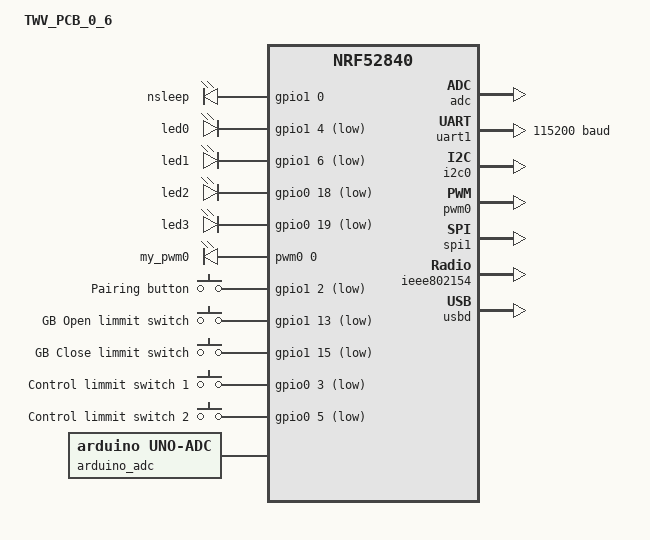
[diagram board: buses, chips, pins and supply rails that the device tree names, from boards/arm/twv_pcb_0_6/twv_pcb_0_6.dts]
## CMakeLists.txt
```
#
# Copyright (c) 2020 Nordic Semiconductor ASA
#
# SPDX-License-Identifier: LicenseRef-Nordic-5-Clause
#

cmake_minimum_required(VERSION 3.20.0)

find_package(Zephyr REQUIRED HINTS $ENV{ZEPHYR_BASE})

project("Light Switch")

# NORDIC SDK APP START
target_sources(app PRIVATE
  src/main.c
)

target_include_directories(app PRIVATE include)
# NORDIC SDK APP END

target_sources(app PRIVATE
  src/buttons.c
)

target_sources(app PRIVATE
  src/leds.c
)

target_sources(app PRIVATE
  src/adc.c
)

target_sources(app PRIVATE
  src/pwm.c
)

target_include_directories(app PRIVATE include)

target_sources_ifdef(CONFIG_BT_NUS app PRIVATE
  src/nus_cmd.c
)
```

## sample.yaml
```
sample:
  description: Smart Valve based on ZBOSS stack
  name: Smart Valve
tests:
  sample.zigbee.light_switch:
    build_only: true
    integration_platforms:
      - nrf52840dk_nrf52840
      - nrf52833dk_nrf52833
      - nrf5340dk_nrf5340_cpuapp
      - nrf21540dk_nrf52840
    platform_allow: nrf52840dk_nrf52840 nrf52833dk_nrf52833 nrf5340dk_nrf5340_cpuapp
      nrf21540dk_nrf52840
    tags: ci_build smoke
  sample.zigbee.light_switch.current_measurement:
    build_only: true
    extra_args: CONFIG_SERIAL=n
    integration_platforms:
      - nrf52840dk_nrf52840
      - nrf52833dk_nrf52833
      - nrf5340dk_nrf5340_cpuapp
    platform_allow: nrf52840dk_nrf52840 nrf52833dk_nrf52833 nrf5340dk_nrf5340_cpuapp
    tags: ci_build current_measurement
  sample.zigbee.light_switch.fota:
    build_only: true
    extra_args: CONF_FILE=prj_fota.conf
    integration_platforms:
      - nrf52840dk_nrf52840
      - nrf21540dk_nrf52840
      - nrf5340dk_nrf5340_cpuapp
    platform_allow: nrf52840dk_nrf52840 nrf21540dk_nrf52840 nrf5340dk_nrf5340_cpuapp
    tags: ci_build smoke
  sample.zigbee.light_switch.fota_and_multiprotocol:
    build_only: true
    extra_args: CONF_FILE=prj_fota.conf OVERLAY_CONFIG=overlay-multiprotocol_ble.conf
    integration_platforms:
      - nrf52840dk_nrf52840
      - nrf5340dk_nrf5340_cpuapp
    platform_allow: nrf52840dk_nrf52840 nrf5340dk_nrf5340_cpuapp
    tags: ci_build
  sample.zigbee.light_switch.multiprotocol:
    build_only: true
    extra_args: OVERLAY_CONFIG=overlay-multiprotocol_ble.conf
    integration_platforms:
      - nrf52840dk_nrf52840
      - nrf52833dk_nrf52833
      - nrf5340dk_nrf5340_cpuapp
    platform_allow: nrf52840dk_nrf52840 nrf52833dk_nrf52833 nrf5340dk_nrf5340_cpuapp
    tags: ci_build
  sample.zigbee.light_switch.with_shell:
    build_only: true
    extra_args: >
      CONFIG_ZIGBEE_SHELL=y CONFIG_ZIGBEE_SHELL_DEBUG_CMD=y CONFIG_ZIGBEE_LOGGER_EP=n
      CONFIG_ZIGBEE_SHELL_ENDPOINT=1 CONFIG_LOG_MODE_DEFERRED=y
    integration_platforms:
      - nrf52840dk_nrf52840
      - nrf52833dk_nrf52833
      - nrf5340dk_nrf5340_cpuapp
      - nrf21540dk_nrf52840
    platform_allow: nrf52840dk_nrf52840 nrf52833dk_nrf52833 nrf5340dk_nrf5340_cpuapp
      nrf21540dk_nrf52840
    tags: ci_build shell
```

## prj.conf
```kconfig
#
# Copyright (c) 2020 Nordic Semiconductor ASA
#
# SPDX-License-Identifier: LicenseRef-Nordic-5-Clause
#

CONFIG_NCS_SAMPLES_DEFAULTS=y

CONFIG_UART_INTERRUPT_DRIVEN=y
CONFIG_SERIAL=y
CONFIG_GPIO=y
CONFIG_ADC=y
CONFIG_PWM=y
CONFIG_LED=y

# Make sure printk is not printing to the UART console
CONFIG_CONSOLE=y
CONFIG_UART_CONSOLE=y

CONFIG_HEAP_MEM_POOL_SIZE=2048

CONFIG_ZIGBEE=y
CONFIG_ZIGBEE_APP_UTILS=y
CONFIG_ZIGBEE_ROLE_END_DEVICE=y
CONFIG_ZIGBEE_TIME_KTIMER=y
CONFIG_ZIGBEE_CHANNEL_SELECTION_MODE_MULTI=y
CONFIG_ZIGBEE_CHANNEL_MASK=0x210F800

# Enable DK LED and Buttons library
CONFIG_DK_LIBRARY=y

# This example requires more workqueue stack
CONFIG_SYSTEM_WORKQUEUE_STACK_SIZE=2048

# Enable API for powering down unused RAM parts
CONFIG_RAM_POWER_DOWN_LIBRARY=y

# Networking
CONFIG_NET_IPV6=n
CONFIG_NET_IP_ADDR_CHECK=n
CONFIG_NET_UDP=n
```

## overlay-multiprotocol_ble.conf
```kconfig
#
# Copyright (c) 2020 Nordic Semiconductor ASA
#
# SPDX-License-Identifier: LicenseRef-Nordic-5-Clause
#

# BLE configuration
CONFIG_BT=y
CONFIG_BT_SMP=y
CONFIG_BT_PERIPHERAL=y
CONFIG_BT_DEVICE_NAME="TWV"
CONFIG_BT_DEVICE_APPEARANCE=833
CONFIG_BT_MAX_CONN=1
CONFIG_BT_MAX_PAIRED=1
CONFIG_BT_PHY_UPDATE=n

# Enable the NUS service
CONFIG_BT_NUS=y

# Enable bonding
CONFIG_SETTINGS=y
CONFIG_BT_SETTINGS=y

# BLE uses ECB peripheral directly
CONFIG_CRYPTO=n
CONFIG_CRYPTO_NRF_ECB=n
```

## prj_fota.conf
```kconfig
#
# Copyright (c) 2020 Nordic Semiconductor ASA
#
# SPDX-License-Identifier: LicenseRef-Nordic-5-Clause
#

CONFIG_NCS_SAMPLES_DEFAULTS=y

CONFIG_UART_INTERRUPT_DRIVEN=y
CONFIG_SERIAL=y
CONFIG_GPIO=y
CONFIG_ADC=y
CONFIG_PWM=y
CONFIG_LED=y

# Make sure printk is not printing to the UART console
CONFIG_CONSOLE=y
CONFIG_UART_CONSOLE=y

CONFIG_HEAP_MEM_POOL_SIZE=2048

CONFIG_ZIGBEE=y
CONFIG_ZIGBEE_APP_UTILS=y
CONFIG_ZIGBEE_ROLE_END_DEVICE=y

# Enable DK LED and Buttons library
CONFIG_DK_LIBRARY=y

# This example requires more workqueue stack
CONFIG_SYSTEM_WORKQUEUE_STACK_SIZE=2048

# Enable API for powering down unused RAM parts
CONFIG_RAM_POWER_DOWN_LIBRARY=y

# Networking
CONFIG_NET_IPV6=n
CONFIG_NET_IP_ADDR_CHECK=n
CONFIG_NET_UDP=n


#######################
# Zigbee FOTA overlay #
#######################

# Enable Zigbee FOTA library
CONFIG_ZIGBEE_FOTA=y
CONFIG_ZIGBEE_FOTA_HW_VERSION=52
CONFIG_ZIGBEE_FOTA_ENDPOINT=5
CONFIG_MCUBOOT_IMGTOOL_SIGN_VERSION="1.16.301"
CONFIG_ZIGBEE_FOTA_COMMENT="good_image"

# Ensure an MCUboot-compatible binary is generated.
CONFIG_IMG_MANAGER=y
CONFIG_STREAM_FLASH=y
CONFIG_DFU_TARGET_MCUBOOT=y
CONFIG_IMG_ERASE_PROGRESSIVELY=y
CONFIG_ZIGBEE_FOTA_PROGRESS_EVT=y

# Increase the number of RX buffers
CONFIG_NRF_802154_RX_BUFFERS=32

CONFIG_ZIGBEE_TIME_KTIMER=y
CONFIG_ZIGBEE_CHANNEL_SELECTION_MODE_MULTI=y
CONFIG_SPEED_OPTIMIZATIONS=y

CONFIG_ZIGBEE_CHANNEL_MASK=0x210F800
CONFIG_ZIGBEE_FOTA_MANUFACTURER_ID=0x007B

# Debug related config
CONFIG_DEBUG_OPTIMIZATIONS=y
CONFIG_RESET_ON_FATAL_ERROR=n
CONFIG_LOG=y
CONFIG_USE_SEGGER_RTT=y
CONFIG_CORTEX_M_DEBUG_MONITOR_HOOK=y
CONFIG_DEBUG_THREAD_INFO=y
CONFIG_SEGGER_DEBUGMON=y
CONFIG_LOG_MODE_DEFERRED=y
```

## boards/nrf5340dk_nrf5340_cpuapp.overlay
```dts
/*
 * Copyright (c) 2022 Nordic Semiconductor ASA
 *
 * SPDX-License-Identifier: LicenseRef-Nordic-5-Clause
 */

 / {
	chosen {
		nordic,pm-ext-flash = &mx25r64;
		ncs,zigbee-timer = &timer2;
	};
};

&timer2 {
	status = "okay";
};
```

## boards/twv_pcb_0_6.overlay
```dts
/*
 * Copyright (c) 2023 Nordic Semiconductor ASA
 *
 * SPDX-License-Identifier: LicenseRef-Nordic-5-Clause
 */
/ {
	chosen {
		ncs,zigbee-timer = &timer2;
	};
	zephyr,user {
		//compatible = "nordic,nrf-adc";
		io-channels = <&adc 0>;
	};
};

&timer2 {
	status = "okay";
};

&adc {
	#address-cells = <1>;
	#size-cells = <0>;

	channel@0 {
		reg = <0>;
		zephyr,gain = "ADC_GAIN_1_6";
		zephyr,reference = "ADC_REF_INTERNAL";
		zephyr,acquisition-time = <ADC_ACQ_TIME_DEFAULT>;
		zephyr,input-positive = <NRF_SAADC_AIN0>; /* P0.02 */
		zephyr,resolution = <12>;
	};
};
```

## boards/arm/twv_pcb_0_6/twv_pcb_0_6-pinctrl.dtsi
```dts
/*
 * Copyright (c) 2022 Nordic Semiconductor
 * SPDX-License-Identifier: Apache-2.0
 */

&pinctrl {
	uart0_default: uart0_default {
		group1 {
			psels = <NRF_PSEL(UART_TX, 0, 6)>,
				<NRF_PSEL(UART_RTS, 0, 5)>;
		};
		group2 {
			psels = <NRF_PSEL(UART_RX, 0, 8)>,
				<NRF_PSEL(UART_CTS, 0, 7)>;
			bias-pull-up;
		};
	};

	uart0_sleep: uart0_sleep {
		group1 {
			psels = <NRF_PSEL(UART_TX, 0, 6)>,
				<NRF_PSEL(UART_RX, 0, 8)>,
				<NRF_PSEL(UART_RTS, 0, 5)>,
				<NRF_PSEL(UART_CTS, 0, 7)>;
			low-power-enable;
		};
	};

	uart1_default: uart1_default {
		group1 {
			psels = <NRF_PSEL(UART_RX, 1, 1)>;
			bias-pull-up;
		};
		group2 {
			psels = <NRF_PSEL(UART_TX, 1, 2)>;
		};
	};

	uart1_sleep: uart1_sleep {
		group1 {
			psels = <NRF_PSEL(UART_RX, 1, 1)>,
				<NRF_PSEL(UART_TX, 1, 2)>;
			low-power-enable;
		};
	};

	i2c0_default: i2c0_default {
		group1 {
			psels = <NRF_PSEL(TWIM_SDA, 0, 26)>,
				<NRF_PSEL(TWIM_SCL, 0, 27)>;
		};
	};

	i2c0_sleep: i2c0_sleep {
		group1 {
			psels = <NRF_PSEL(TWIM_SDA, 0, 26)>,
				<NRF_PSEL(TWIM_SCL, 0, 27)>;
			low-power-enable;
		};
	};

	i2c1_default: i2c1_default {
		group1 {
			psels = <NRF_PSEL(TWIM_SDA, 0, 30)>,
				<NRF_PSEL(TWIM_SCL, 0, 31)>;
		};
	};

	i2c1_sleep: i2c1_sleep {
		group1 {
			psels = <NRF_PSEL(TWIM_SDA, 0, 30)>,
				<NRF_PSEL(TWIM_SCL, 0, 31)>;
			low-power-enable;
		};
	};

	pwm0_default: pwm0_default {
		group1 {
			psels = <NRF_PSEL(PWM_OUT0, 1, 10)>,
					<NRF_PSEL(PWM_OUT1, 1, 1)>,    // P1.01 motor enable
					<NRF_PSEL(PWM_OUT2, 1, 3)>;    // P1.03 motor phase
			nordic,invert;
		};
	};

	pwm0_sleep: pwm0_sleep {
		group1 {
			psels = <NRF_PSEL(PWM_OUT0, 1, 10)>,
					<NRF_PSEL(PWM_OUT1, 1, 1)>,    // P1.01 motor enable
					<NRF_PSEL(PWM_OUT2, 1, 3)>;    // P1.03 motor phase
			low-power-enable;
		};
	};

	spi0_default: spi0_default {
		group1 {
			psels = <NRF_PSEL(SPIM_SCK, 0, 27)>,
				<NRF_PSEL(SPIM_MOSI, 0, 26)>,
				<NRF_PSEL(SPIM_MISO, 0, 29)>;
		};
	};

	spi0_sleep: spi0_sleep {
		group1 {
			psels = <NRF_PSEL(SPIM_SCK, 0, 27)>,
				<NRF_PSEL(SPIM_MOSI, 0, 26)>,
				<NRF_PSEL(SPIM_MISO, 0, 29)>;
			low-power-enable;
		};
	};

	spi1_default: spi1_default {
		group1 {
			psels = <NRF_PSEL(SPIM_SCK, 0, 31)>,
				<NRF_PSEL(SPIM_MOSI, 0, 30)>,
				<NRF_PSEL(SPIM_MISO, 1, 8)>;
		};
	};

	spi1_sleep: spi1_sleep {
		group1 {
			psels = <NRF_PSEL(SPIM_SCK, 0, 31)>,
				<NRF_PSEL(SPIM_MOSI, 0, 30)>,
				<NRF_PSEL(SPIM_MISO, 1, 8)>;
			low-power-enable;
		};
	};

	spi2_default: spi2_default {
		group1 {
			psels = <NRF_PSEL(SPIM_SCK, 0, 19)>,
				<NRF_PSEL(SPIM_MOSI, 0, 20)>,
				<NRF_PSEL(SPIM_MISO, 0, 21)>;
		};
	};

	spi2_sleep: spi2_sleep {
		group1 {
			psels = <NRF_PSEL(SPIM_SCK, 0, 19)>,
				<NRF_PSEL(SPIM_MOSI, 0, 20)>,
				<NRF_PSEL(SPIM_MISO, 0, 21)>;
			low-power-enable;
		};
	};

	qspi_default: qspi_default {
		group1 {
			psels = <NRF_PSEL(QSPI_SCK, 0, 19)>,
				<NRF_PSEL(QSPI_IO0, 0, 20)>,
				<NRF_PSEL(QSPI_IO1, 0, 21)>,
				<NRF_PSEL(QSPI_IO2, 0, 22)>,
				<NRF_PSEL(QSPI_IO3, 0, 23)>,
				<NRF_PSEL(QSPI_CSN, 0, 17)>;
			nordic,drive-mode = <NRF_DRIVE_H0H1>;
		};
	};

	qspi_sleep: qspi_sleep {
		group1 {
			psels = <NRF_PSEL(QSPI_SCK, 0, 19)>,
				<NRF_PSEL(QSPI_IO0, 0, 20)>,
				<NRF_PSEL(QSPI_IO1, 0, 21)>,
				<NRF_PSEL(QSPI_IO2, 0, 22)>,
				<NRF_PSEL(QSPI_IO3, 0, 23)>;
			low-power-enable;
		};
		group2 {
			psels = <NRF_PSEL(QSPI_CSN, 0, 17)>;
			low-power-enable;
			bias-pull-up;
		};
	};

	spi3_default: spi3_default {
		group1 {
			psels = <NRF_PSEL(SPIM_SCK, 1, 15)>,
				<NRF_PSEL(SPIM_MISO, 1, 14)>,
				<NRF_PSEL(SPIM_MOSI, 1, 13)>;
		};
	};

	spi3_sleep: spi3_sleep {
		group1 {
			psels = <NRF_PSEL(SPIM_SCK, 1, 15)>,
				<NRF_PSEL(SPIM_MISO, 1, 14)>,
				<NRF_PSEL(SPIM_MOSI, 1, 13)>;
			low-power-enable;
		};
	};

};
```

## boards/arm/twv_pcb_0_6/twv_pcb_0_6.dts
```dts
/*
 * Copyright (c) 2017 Linaro Limited
 *
 * SPDX-License-Identifier: Apache-2.0
 */

/dts-v1/;
#include <nordic/nrf52840_qiaa.dtsi>
#include "twv_pcb_0_6-pinctrl.dtsi"
#include <zephyr/dt-bindings/input/input-event-codes.h>

/ {
	model = "TWV_PCB_0_6";
	compatible = "uhome,twv-pcb-0-6";

	chosen {
		zephyr,console = &uart0;
		zephyr,shell-uart = &uart0;
		zephyr,uart-mcumgr = &uart0;
		zephyr,bt-mon-uart = &uart0;
		zephyr,bt-c2h-uart = &uart0;
		zephyr,sram = &sram0;
		zephyr,flash = &flash0;
		zephyr,code-partition = &slot0_partition;
		zephyr,ieee802154 = &ieee802154;
	};

	motor {
		compatible = "gpio-leds";
		/*phase: motor_phase {
			gpios = <&gpio1 3 (GPIO_ACTIVE_HIGH)>;
		};
		enable: motor_enable {
			gpios = <&gpio1 1 (GPIO_ACTIVE_HIGH)>;
		};*/
		nsleep: motor_nsleep {
			gpios = <&gpio1 0 (GPIO_ACTIVE_HIGH)>;
		};
	};

	leds {
		compatible = "gpio-leds";
		led0: pairing_led {
			gpios = <&gpio1 4 (GPIO_ACTIVE_LOW)>;
		};

		led1: error_led {
			gpios = <&gpio1 6 (GPIO_ACTIVE_LOW)>;
		};

		led2: open_status_led {
			gpios = <&gpio0 18 (GPIO_ACTIVE_LOW)>;
		};

		led3: close_status_led {
			gpios = <&gpio0 19 (GPIO_ACTIVE_LOW)>;
		};
	};

	mypwm {
		compatible = "pwm-leds";
		my_pwm0: my_pwm_0 {
			pwms = 	<&pwm0 0 PWM_MSEC(20) PWM_POLARITY_NORMAL>,  
					<&pwm0 1 PWM_MSEC(20) PWM_POLARITY_NORMAL>,
					<&pwm0 2 PWM_MSEC(20) PWM_POLARITY_NORMAL>;
		};
	};
/* 	pwmleds {
	compatible = "pwm-leds";
	pwm_led0: pwm_led_0 {
		pwms = <&pwm0 0 PWM_MSEC(20) PWM_POLARITY_NORMAL>;
	};
};*/
	buttons {
		compatible = "gpio-keys";
		button_pairing: pairing {
			gpios = <&gpio1 2 (GPIO_ACTIVE_LOW)>;
			label = "Pairing button";
		};

		button_open: open {
			gpios = <&gpio1 13 (GPIO_ACTIVE_LOW)>;
			label = "GB Open limmit switch";
		};

		button_close: close {
			gpios = <&gpio1 15 (GPIO_ACTIVE_LOW)>;
			label = "GB Close limmit switch";
		};

		button_control_1: control_1 {
			gpios = <&gpio0 3 (GPIO_ACTIVE_LOW)>;
			label = "Control limmit switch 1";
		};

		button_control_2: control_2 {
			gpios = <&gpio0 5 (GPIO_ACTIVE_LOW)>;
			label = "Control limmit switch 2";
		};
	};

	arduino_adc: analog-connector {
		compatible = "arduino,uno-adc";
		#io-channel-cells = <1>;
		io-channel-map = <0 &adc 1>,	/* A0 = P0.3 = AIN1 */
				 <1 &adc 2>,	/* A1 = P0.4 = AIN2 */
				 <2 &adc 4>,	/* A2 = P0.28 = AIN4 */
				 <3 &adc 5>,	/* A3 = P0.29 = AIN5 */
				 <4 &adc 6>,	/* A4 = P0.30 = AIN6 */
				 <5 &adc 7>;	/* A5 = P0.31 = AIN7 */
	};

	/* These aliases are provided for compatibility with samples */
	aliases {
		nsleep = &nsleep;
		//phase = &phase;
		//enable = &enable;
		led0 = &led0;
		led1 = &led1;
		led2 = &led2;
		led3 = &led3;
		//pwm-led0 = &pwm_led0;
		my-pwm0 = &my_pwm0;
		pairing = &button_pairing;
		open = &button_open;
		close = &button_close;
		control1 = &button_control_1;
		control2 = &button_control_2;
		bootloader-led0 = &led0;
		mcuboot-led0 = &led0;
		watchdog0 = &wdt0;
	};
};

&adc {
	status = "okay";
};

&uicr {
	gpio-as-nreset;
};

&gpiote {
	status = "okay";
};

&gpio0 {
	status = "okay";
};

&gpio1 {
	status = "okay";
};

&uart1 {
	current-speed = <115200>;
	pinctrl-0 = <&uart1_default>;
	pinctrl-1 = <&uart1_sleep>;
	pinctrl-names = "default", "sleep";
};

&i2c0 {
	compatible = "nordic,nrf-twi";
	status = "okay";
	pinctrl-0 = <&i2c0_default>;
	pinctrl-1 = <&i2c0_sleep>;
	pinctrl-names = "default", "sleep";
};

&i2c1 {
	compatible = "nordic,nrf-twi";
	/* Cannot be used together with spi1. */
	/* status = "okay"; */
	pinctrl-0 = <&i2c1_default>;
	pinctrl-1 = <&i2c1_sleep>;
	pinctrl-names = "default", "sleep";
};

&pwm0 {
	status = "okay";
	pinctrl-0 = <&pwm0_default>;
	pinctrl-1 = <&pwm0_sleep>;
	pinctrl-names = "default", "sleep";
};

&spi0 {
	compatible = "nordic,nrf-spi";
	/* Cannot be used together with i2c0. */
	/* status = "okay"; */
	pinctrl-0 = <&spi0_default>;
	pinctrl-1 = <&spi0_sleep>;
	pinctrl-names = "default", "sleep";
};

&spi1 {
	compatible = "nordic,nrf-spi";
	status = "okay";
	pinctrl-0 = <&spi1_default>;
	pinctrl-1 = <&spi1_sleep>;
	pinctrl-names = "default", "sleep";
};

&spi2 {
	compatible = "nordic,nrf-spi";
	status = "disabled";
	pinctrl-0 = <&spi2_default>;
	pinctrl-1 = <&spi2_sleep>;
	pinctrl-names = "default", "sleep";
};


&ieee802154 {
	status = "okay";
};

&flash0 {

	partitions {
		compatible = "fixed-partitions";
		#address-cells = <1>;
		#size-cells = <1>;

		boot_partition: partition@0 {
			label = "mcuboot";
			reg = <0x00000000 0x0000C000>;
		};
		slot0_partition: partition@c000 {
			label = "image-0";
			reg = <0x0000C000 0x00076000>;
		};
		slot1_partition: partition@82000 {
			label = "image-1";
			reg = <0x00082000 0x00076000>;
		};

		/*
		 * The flash starting at 0x000f8000 and ending at
		 * 0x000fffff is reserved for use by the application.
		 */

		/*
		 * Storage partition will be used by FCB/LittleFS/NVS
		 * if enabled.
		 */
		storage_partition: partition@f8000 {
			label = "storage";
			reg = <0x000f8000 0x00008000>;
		};
	};
};

zephyr_udc0: &usbd {
	compatible = "nordic,nrf-usbd";
	status = "okay";
};
```

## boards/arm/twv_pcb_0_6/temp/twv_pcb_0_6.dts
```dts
// Copyright (c) 2023 Nordic Semiconductor ASA
// SPDX-License-Identifier: Apache-2.0

/dts-v1/;
#include <nordic/nrf52840_qiaa.dtsi>
#include "twv_pcb_0_6-pinctrl.dtsi"

/ {
	model = "TWV_PCB_0_6";
	compatible = "uhome,twv-pcb-0-6";

	chosen {
		zephyr,console = &uart0;
		zephyr,shell-uart = &uart0;
		zephyr,uart-mcumgr = &uart0;
		zephyr,bt-mon-uart = &uart0;
		zephyr,bt-c2h-uart = &uart0;
		zephyr,sram = &sram0;
		zephyr,flash = &flash0;
		zephyr,code-partition = &slot0_partition;
		zephyr,ieee802154 = &ieee802154;
	};

	buttons {
		compatible = "gpio-keys";
		pairing {
			gpios = <&gpio1 2 (GPIO_ACTIVE_LOW)>;
			label = "Pairing button";
		};

		open {
			gpios = <&gpio1 13 (GPIO_ACTIVE_LOW)>;
			label = "GB Open limmit switch";
		};

		close {
			gpios = <&gpio1 15 (GPIO_ACTIVE_LOW)>;
			label = "GB Close limmit switch";
		};

		contro_1 {
			gpios = <&gpio0 3 (GPIO_ACTIVE_LOW)>;
			label = "Control limmit switch 1";
		};

		control_2 {
			gpios = <&gpio0 5 (GPIO_ACTIVE_LOW)>;
			label = "Control limmit switch 2";
		};
	};

	led_indication {
		compatible = "gpio-leds";
		pairing_led {
			gpios = <&gpio1 4 (GPIO_ACTIVE_LOW)>;
		};

		error_led {
			gpios = <&gpio1 6 (GPIO_ACTIVE_LOW)>;
		};

		open_status_led {
			gpios = <&gpio0 18 (GPIO_ACTIVE_LOW)>;
		};

		close_status_led {
			gpios = <&gpio0 19 0>;
		};
	};
};

&flash0 {

	partitions {
		compatible = "fixed-partitions";
		#address-cells = <1>;
		#size-cells = <1>;

		boot_partition: partition@0 {
			label = "mcuboot";
			reg = <0x00000000 0x0000C000>;
		};
		slot0_partition: partition@c000 {
			label = "image-0";
			reg = <0x0000C000 0x00076000>;
		};
		slot1_partition: partition@82000 {
			label = "image-1";
			reg = <0x00082000 0x00076000>;
		};

		/*
		 * The flash starting at 0x000f8000 and ending at
		 * 0x000fffff is reserved for use by the application.
		 */

		/*
		 * Storage partition will be used by FCB/LittleFS/NVS
		 * if enabled.
		 */
		storage_partition: partition@f8000 {
			label = "storage";
			reg = <0x000f8000 0x00008000>;
		};
	};
};

&adc {
    status = "okay";
};

&gpio0 {
    status = "okay";
};

&gpio1 {
    status = "okay";
};

&gpiote {
    status = "okay";
};

&uart1 {
	current-speed = <115200>;
	pinctrl-0 = <&uart1_default>;
	pinctrl-1 = <&uart1_sleep>;
	pinctrl-names = "default", "sleep";
};

&uart0 {
	compatible = "nordic,nrf-uarte";
	status = "okay";
	current-speed = <115200>;
	pinctrl-0 = <&uart0_default>;
	pinctrl-1 = <&uart0_sleep>;
	pinctrl-names = "default", "sleep";
};

&systick {
    status = "okay";
};

&timer4 {
    status = "okay";
};

&timer3 {
    status = "okay";
};

&timer2 {
    status = "okay";
};

&timer1 {
    status = "okay";
};

&timer0 {
    status = "okay";
};

&rtc0 {
    status = "okay";
};

&rtc1 {
    status = "okay";
};

&rtc2 {
    status = "okay";
};

&i2c0 {
	compatible = "nordic,nrf-twi";
	status = "okay";
	pinctrl-0 = <&i2c0_default>;
	pinctrl-1 = <&i2c0_sleep>;
	pinctrl-names = "default", "sleep";
};

&i2c1 {
	compatible = "nordic,nrf-twi";
	/* Cannot be used together with spi1. */
	/* status = "okay"; */
	pinctrl-0 = <&i2c1_default>;
	pinctrl-1 = <&i2c1_sleep>;
	pinctrl-names = "default", "sleep";
};

&pwm0 {
	status = "okay";
	pinctrl-0 = <&pwm0_default>;
	pinctrl-1 = <&pwm0_sleep>;
	pinctrl-names = "default", "sleep";
};

&spi0 {
	compatible = "nordic,nrf-spi";
	/* Cannot be used together with i2c0. */
	/* status = "okay"; */
	pinctrl-0 = <&spi0_default>;
	pinctrl-1 = <&spi0_sleep>;
	pinctrl-names = "default", "sleep";
};

&spi1 {
	compatible = "nordic,nrf-spi";
	status = "okay";
	pinctrl-0 = <&spi1_default>;
	pinctrl-1 = <&spi1_sleep>;
	pinctrl-names = "default", "sleep";
};

&spi2 {
	compatible = "nordic,nrf-spi";
	status = "disabled";
	pinctrl-0 = <&spi2_default>;
	pinctrl-1 = <&spi2_sleep>;
	pinctrl-names = "default", "sleep";
};

&qspi {
	status = "okay";
	pinctrl-0 = <&qspi_default>;
	pinctrl-1 = <&qspi_sleep>;
	pinctrl-names = "default", "sleep";
	mx25r64: mx25r6435f@0 {
		compatible = "nordic,qspi-nor";
		reg = <0>;
		/* MX25R64 supports only pp and pp4io */
		writeoc = "pp4io";
		/* MX25R64 supports all readoc options */
		readoc = "read4io";
		sck-frequency = <8000000>;
		jedec-id = [c2 28 17];
		sfdp-bfp = [
			e5 20 f1 ff  ff ff ff 03  44 eb 08 6b  08 3b 04 bb
			ee ff ff ff  ff ff 00 ff  ff ff 00 ff  0c 20 0f 52
			10 d8 00 ff  23 72 f5 00  82 ed 04 cc  44 83 68 44
			30 b0 30 b0  f7 c4 d5 5c  00 be 29 ff  f0 d0 ff ff
		];
		size = <67108864>;
		has-dpd;
		t-enter-dpd = <10000>;
		t-exit-dpd = <35000>;
	};
};

&ieee802154 {
	status = "okay";
};

zephyr_udc0: &usbd {
	compatible = "nordic,nrf-usbd";
	status = "okay";
};
```

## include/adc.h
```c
#ifndef _ADC_H_
#define _ADC_H_

uint8_t meassure_battery_percentage(void);

#endif /* _ADC_H_ */
```

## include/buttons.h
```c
#ifndef _BUTTONS_H_
#define _BUTTONS_H_

enum button_evt {
    BUTTON_PAIRING_EVT_PRESSED,
    BUTTON_PAIRING_EVT_RELEASED,
    BUTTON_OPEN_EVT_PRESSED,
    BUTTON_OPEN_EVT_RELEASED,
    BUTTON_CLOSE_EVT_PRESSED,
    BUTTON_CLOSE_EVT_RELEASED, 
    BUTTON_CONTROL_1_EVT_PRESSED,
    BUTTON_CONTROL_1_EVT_RELEASED, 
    BUTTON_CONTROL_2_EVT_PRESSED,
    BUTTON_CONTROL_2_EVT_RELEASED
};

typedef void (*button_event_handler_t)(enum button_evt evt);

int button_init(button_event_handler_t handler);

#endif /* _BUTTONS_H_ */
```

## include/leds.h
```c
#ifndef _LEDS_H_
#define _LEDS_H_

enum leds {
    PAIRING_LED_ENUM,
    ERROR_LED_ENUM,
    OPEN_STATUS_LED_ENUM,
    CLOSED_STATUS_LED_ENUM
};

int led_blink(enum leds name, signed int time_to_blink_ms);

int led_control(enum leds name, bool on);

int leds_init(void);

#endif /* _LEDS_H_ */
```

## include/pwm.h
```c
#ifndef _PWM_H_
#define _PWM_H_

void buzzer_on(int work_time_ms);
void buzzer_off(void);

void valve_open(void);
void valve_close(void);
void motor_sleep(void);

void set_motor_pwm(int32_t current_bat_voltage);

void configure_gpio(void);

#endif /* _PWM_H_ */
```

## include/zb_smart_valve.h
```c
/*
 * Copyright (c) 2022 Nordic Semiconductor ASA
 *
 * SPDX-License-Identifier: LicenseRef-Nordic-5-Clause
 */

#ifndef ZB_SMART_VALVE_H
#define ZB_SMART_VALVE_H 1

/* Basic cluster attributes initial values. */
#define SMART_VALVE_INIT_BASIC_APP_VERSION       01                                    /**< Version of the application software (1 byte). */
#define SMART_VALVE_INIT_BASIC_STACK_VERSION     10                                    /**< Version of the implementation of the Zigbee stack (1 byte). */
#define SMART_VALVE_INIT_BASIC_SV_VERSION        "V2.24" 
#define SMART_VALVE_INIT_BASIC_HW_VERSION        1                                    /**< Version of the hardware of the device (1 byte). */
#define SMART_VALVE_INIT_BASIC_MANUF_NAME        "UHome"                                 /**< Manufacturer name (32 bytes). */
#define SMART_VALVE_INIT_BASIC_MODEL_ID          "TWV"                    /**< Model number assigned by manufacturer (32-bytes long string). */
#define SMART_VALVE_INIT_BASIC_DATE_CODE         "20241404"                            /**< First 8 bytes specify the date of manufacturer of the device in ISO 8601 format (YYYYMMDD). The rest (8 bytes) are manufacturer specific. */
#define SMART_VALVE_INIT_BASIC_POWER_SOURCE      ZB_ZCL_BASIC_POWER_SOURCE_BATTERY      /**< Type of power sources available for the device. For possible values see section 3.2.2.2.8 of ZCL specification. */
//#define SMART_VALVE_INIT_BASIC_LOCATION_DESC     "Office desk"                         /**< Describes the physical location of the device (16 bytes). May be modified during commisioning process. */
#define SMART_VALVE_INIT_BASIC_PH_ENV            ZB_ZCL_BASIC_ENV_UNSPECIFIED          /**< Describes the type of physical environment. For possible values see section 3.2.2.2.10 of ZCL specification. */

#define SMART_VALVE_ENDPOINT                     1
/** Dimmer Switch Device ID */
#define ZB_SMART_VALVE_DEVICE_ID 0x0104

/** Dimmer Switch device version */
#define ZB_DEVICE_VER_SMART_VALVE 0

/** @cond internals_doc */

/** Dimmer Switch IN (server) clusters number */
#define ZB_SMART_VALVE_IN_CLUSTER_NUM 4

/** Dimmer Switch OUT (client) clusters number */
#define ZB_SMART_VALVE_OUT_CLUSTER_NUM 0

/** Dimmer switch total (IN+OUT) cluster number */
#define ZB_SMART_VALVE_CLUSTER_NUM \
	(ZB_SMART_VALVE_IN_CLUSTER_NUM + ZB_SMART_VALVE_OUT_CLUSTER_NUM)

/** Number of attribute for reporting on Dimmer Switch device */
#define ZB_SMART_VALVE_REPORT_ATTR_COUNT 3
//----------------------------------------------------------------------------------------------------------//
#define bat_num //needed for power config cluster to work
typedef  struct zb_zcl_power_config_attr_s
{
    zb_uint8_t battery_voltage; // Atribute 3.3.2.2.3.1
    zb_uint8_t battery_size; // Atribute 3.3.2.2.4.2
    zb_uint8_t battery_quantity; // Atribute 3.3.2.2.4.4
    zb_uint8_t battery_rated_voltage; // Atribute 3.3.2.2.4.5
    zb_uint8_t battery_alarm_mask; // Atribute 3.3.2.2.4.6
    zb_uint8_t battery_voltage_min_threshold; // Atribute 3.3.2.2.4.7
    zb_uint8_t battery_percentage_remaining; // Atribute 3.3.2.2.3.1
    zb_uint8_t battery_voltage_threshold_1; // Atribute 3.3.2.2.4.8
    zb_uint8_t battery_voltage_threshold_2; // Atribute 3.3.2.2.4.8
    zb_uint8_t battery_voltage_threshold_3; // Atribute 3.3.2.2.4.8
    zb_uint8_t battery_percentage_min_threshold; // Atribute 3.3.2.2.4.9
    zb_uint8_t battery_percentage_threshold_1; // Atribute 3.3.2.2.4.10
    zb_uint8_t battery_percentage_threshold_2; // Atribute 3.3.2.2.4.10
    zb_uint8_t battery_percentage_threshold_3; // Atribute 3.3.2.2.4.10
    zb_uint32_t battery_alarm_state; // Atribute 3.3.2.2.4.11
} zb_zcl_power_config_attr_t;
/*typedef  struct zb_zcl_power_config_attr_s



/**
 * @brief Declare cluster list for Dimmer Switch device
 * @param cluster_list_name - cluster list variable name
 * @param basic_server_attr_list - attribute list for Basic cluster (server role)
 * @param identify_server_attr_list - attribute list for Identify cluster (server role)
 * @param on_off_attr_list - attribute list for On/Off cluster (client role)
 */
#define ZB_DECLARE_SMART_VALVE_CLUSTER_LIST(					  \
		cluster_list_name,						  \
		basic_server_attr_list,						  \
		identify_server_attr_list,					  \
		power_config_attr_list,                      \
		on_off_attr_list)					  \
zb_zcl_cluster_desc_t cluster_list_name[] =					  \
{										  \
	ZB_ZCL_CLUSTER_DESC(							  \
		ZB_ZCL_CLUSTER_ID_BASIC,					  \
		ZB_ZCL_ARRAY_SIZE(basic_server_attr_list, zb_zcl_attr_t),	  \
		(basic_server_attr_list),					  \
		ZB_ZCL_CLUSTER_SERVER_ROLE,					  \
		ZB_ZCL_MANUF_CODE_INVALID					  \
	),									  \
	ZB_ZCL_CLUSTER_DESC(							  \
		ZB_ZCL_CLUSTER_ID_IDENTIFY,					  \
		ZB_ZCL_ARRAY_SIZE(identify_server_attr_list, zb_zcl_attr_t),	  \
		(identify_server_attr_list),					  \
		ZB_ZCL_CLUSTER_SERVER_ROLE,					  \
		ZB_ZCL_MANUF_CODE_INVALID					  \
	),									  \
	ZB_ZCL_CLUSTER_DESC(                                           \
          ZB_ZCL_CLUSTER_ID_POWER_CONFIG,                              \
          ZB_ZCL_ARRAY_SIZE(power_config_attr_list, zb_zcl_attr_t),    \
          (power_config_attr_list),                                    \
          ZB_ZCL_CLUSTER_SERVER_ROLE,                                  \
          ZB_ZCL_MANUF_CODE_INVALID                                    \
    ),                                                             \
	ZB_ZCL_CLUSTER_DESC(							  \
		ZB_ZCL_CLUSTER_ID_ON_OFF,					  \
		ZB_ZCL_ARRAY_SIZE(on_off_attr_list, zb_zcl_attr_t),	  \
		(on_off_attr_list),					  \
		ZB_ZCL_CLUSTER_SERVER_ROLE,					  \
		ZB_ZCL_MANUF_CODE_INVALID					  \
	)									  \
}


/** @cond internals_doc */
/**
 * @brief Declare simple descriptor for Dimmer switch device
 * @param ep_name - endpoint variable name
 * @param ep_id - endpoint ID
 * @param in_clust_num - number of supported input clusters
 * @param out_clust_num - number of supported output clusters
 */
#define ZB_ZCL_DECLARE_SMART_VALVE_SIMPLE_DESC(				    \
	ep_name, ep_id, in_clust_num, out_clust_num)				    \
	ZB_DECLARE_SIMPLE_DESC(in_clust_num, out_clust_num);			    \
	ZB_AF_SIMPLE_DESC_TYPE(in_clust_num, out_clust_num) simple_desc_##ep_name = \
	{									    \
		ep_id,								    \
		ZB_AF_HA_PROFILE_ID,						    \
		ZB_HA_REMOTE_CONTROL_DEVICE_ID,					    \
		ZB_DEVICE_VER_SMART_VALVE,					    \
		0,								    \
		in_clust_num,							    \
		out_clust_num,							    \
		{								    \
			ZB_ZCL_CLUSTER_ID_BASIC,				    \
			ZB_ZCL_CLUSTER_ID_IDENTIFY,				    \
			ZB_ZCL_CLUSTER_ID_POWER_CONFIG,             \
			ZB_ZCL_CLUSTER_ID_ON_OFF,				    \
		}								    \
	}

/** @endcond */ /* internals_doc */

/**
 * @brief Declare endpoint for Dimmer Switch device
 * @param ep_name - endpoint variable name
 * @param ep_id - endpoint ID
 * @param cluster_list - endpoint cluster list
 */
#define ZB_DECLARE_SMART_VALVE_EP(ep_name, ep_id, cluster_list)		      \
	ZB_ZCL_DECLARE_SMART_VALVE_SIMPLE_DESC(ep_name, ep_id,		      \
		  ZB_SMART_VALVE_IN_CLUSTER_NUM, ZB_SMART_VALVE_OUT_CLUSTER_NUM); \
	  ZBOSS_DEVICE_DECLARE_REPORTING_CTX(reporting_info## device_ctx_name,            \
                                     ZB_SMART_VALVE_REPORT_ATTR_COUNT);           \
	ZB_AF_DECLARE_ENDPOINT_DESC(ep_name, ep_id, ZB_AF_HA_PROFILE_ID, 0, NULL,     \
		ZB_ZCL_ARRAY_SIZE(cluster_list, zb_zcl_cluster_desc_t), cluster_list, \
		(zb_af_simple_desc_1_1_t *)&simple_desc_##ep_name,		      \
		ZB_SMART_VALVE_REPORT_ATTR_COUNT, reporting_info## device_ctx_name, /* No reporting ctx */					      \
		0, NULL) /* No CVC ctx */

/** @} */

#endif /* ZB_SMART_VALVE_H */
```

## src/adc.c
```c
#include <zephyr/kernel.h>
#include <zephyr/device.h>
#include <zephyr/devicetree.h>
#include <zephyr/drivers/adc.h>
#include <zephyr/logging/log.h>
#include <zephyr/sys/util.h>
#include <zephyr/drivers/gpio.h>
#include <zephyr/drivers/pwm.h>

#include "adc.h"

bool usb_powered = false;

////----------ADC-----------------------------------------------////
#if !DT_NODE_EXISTS(DT_PATH(zephyr_user)) || \
	!DT_NODE_HAS_PROP(DT_PATH(zephyr_user), io_channels)
#error "No suitable devicetree overlay specified"
#endif

#define DT_SPEC_AND_COMMA(node_id, prop, idx) \
	ADC_DT_SPEC_GET_BY_IDX(node_id, idx),
/* Data of ADC io-channels specified in devicetree. */
static const struct adc_dt_spec adc_channels[] = {
	DT_FOREACH_PROP_ELEM(DT_PATH(zephyr_user), io_channels,
			     DT_SPEC_AND_COMMA)
};

//-------------------------------------------------------------//
bool get_usb_powered_status()
//-------------------------------------------------------------//
{
	return usb_powered;
}

//-------------------------------------------------------------//
uint8_t meassure_battery_percentage(void)
//-------------------------------------------------------------//
{
	uint16_t buf;
    int32_t val_mv;
	int error = 0;

	struct adc_sequence sequence = {
		.buffer = &buf,

		.buffer_size = sizeof(buf),
	};
	adc_channel_setup_dt(&adc_channels[0]);
	(void)adc_sequence_init_dt(&adc_channels[0], &sequence);
	adc_read(adc_channels[0].dev, &sequence);

  if (adc_channels[0].channel_cfg.differential) 
    {
			val_mv = (int32_t)((int16_t)buf);
		} 
    else 
    {
			val_mv = (int32_t)buf;
		}
	
	error = adc_raw_to_millivolts_dt(&adc_channels[0], &val_mv);
	val_mv = val_mv*2;


	if (buf < 500 || buf > 65000) usb_powered = true;
	else usb_powered = false;

	if (val_mv > 6500) val_mv = 6500;
  
  	if (val_mv > 5800) 		return (uint8_t)(179 + (val_mv-5800)/33);
  	else if	(val_mv > 4800) return (uint8_t)(67 + (val_mv-4800)/9);

  	else if	(val_mv > 4000) return (uint8_t)(0 + (val_mv-4000)/12);
  	else 					return (uint8_t)0;
    
}
```

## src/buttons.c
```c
#include <zephyr/kernel.h>
#include <zephyr/drivers/gpio.h>
#include "buttons.h"

#define PAIRING_BUTTON_NODE	DT_ALIAS(pairing)
#if !DT_NODE_HAS_STATUS(PAIRING_BUTTON_NODE, okay)
#error "Unsupported board: devicetree alias is not defined"
#endif

#define OPEN_BUTTON_NODE	DT_ALIAS(open)
#if !DT_NODE_HAS_STATUS(OPEN_BUTTON_NODE, okay)
#error "Unsupported board: devicetree alias is not defined"
#endif

#define CLOSE_BUTTON_NODE	DT_ALIAS(close)
#if !DT_NODE_HAS_STATUS(CLOSE_BUTTON_NODE, okay)
#error "Unsupported board: devicetree alias is not defined"
#endif

#define CONTROL1_BUTTON_NODE	DT_ALIAS(control1)
#if !DT_NODE_HAS_STATUS(CONTROL1_BUTTON_NODE, okay)
#error "Unsupported board: devicetree alias is not defined"
#endif

#define CONTROL2_BUTTON_NODE	DT_ALIAS(control2)
#if !DT_NODE_HAS_STATUS(CONTROL2_BUTTON_NODE, okay)
#error "Unsupported board: devicetree alias is not defined"
#endif

bool pairing_button_previuos_state = false;

static const struct gpio_dt_spec button_pairing = GPIO_DT_SPEC_GET_OR(PAIRING_BUTTON_NODE, gpios,{0});
static const struct gpio_dt_spec button_open = GPIO_DT_SPEC_GET_OR(OPEN_BUTTON_NODE, gpios,{0});
static const struct gpio_dt_spec button_close = GPIO_DT_SPEC_GET_OR(CLOSE_BUTTON_NODE, gpios,{0});
static const struct gpio_dt_spec button_control1 = GPIO_DT_SPEC_GET_OR(CONTROL1_BUTTON_NODE, gpios,{0});
static const struct gpio_dt_spec button_control2 = GPIO_DT_SPEC_GET_OR(CONTROL2_BUTTON_NODE, gpios,{0});

static struct gpio_callback button_pairing_cb_data;
static struct gpio_callback button_open_cb_data;
static struct gpio_callback button_close_cb_data;
static struct gpio_callback button_control1_cb_data;
static struct gpio_callback button_control2_cb_data;


static button_event_handler_t user_cb;
bool get_button_open_pressed()
{
    if(gpio_pin_get_dt(&button_open)) return true;
    else return false;
}
bool get_button_close_pressed()
{
    if(gpio_pin_get_dt(&button_close)) return true;
    else return false;
}
bool get_button_control1_pressed()
{
    if(gpio_pin_get_dt(&button_control1)) return true;
    else return false;
}
bool get_button_control2_pressed()
{
    if(gpio_pin_get_dt(&button_control2)) return true;
    else return false;
}
//////////////////////////////////////////////////////
//TODO just made it fast, need to make it better looking
static void cooldown_expired_pairing(struct k_work *work)
{
    ARG_UNUSED(work);

    int val = gpio_pin_get_dt(&button_pairing);
    if (val) pairing_button_previuos_state = true;
    else pairing_button_previuos_state = false;
    enum button_evt evt = val ? BUTTON_PAIRING_EVT_PRESSED : BUTTON_PAIRING_EVT_RELEASED;
    if (user_cb) {
        user_cb(evt);
    }
}
static void cooldown_expired_open(struct k_work *work)
{
    ARG_UNUSED(work);

    int val = gpio_pin_get_dt(&button_open);
    enum button_evt evt2 = val ? BUTTON_OPEN_EVT_PRESSED : BUTTON_OPEN_EVT_RELEASED;
    if (user_cb) {
        user_cb(evt2);
    }
}
static void cooldown_expired_close(struct k_work *work)
{
    ARG_UNUSED(work);

    int val = gpio_pin_get_dt(&button_close);
    enum button_evt evt3 = val ? BUTTON_CLOSE_EVT_PRESSED : BUTTON_CLOSE_EVT_RELEASED;
    if (user_cb) {
        user_cb(evt3);
    }
}
static void cooldown_expired_control1(struct k_work *work)
{
    ARG_UNUSED(work);

    int val = gpio_pin_get_dt(&button_control1);
    enum button_evt evt4 = val ? BUTTON_CONTROL_1_EVT_PRESSED : BUTTON_CONTROL_1_EVT_RELEASED;
    if (user_cb) {
        user_cb(evt4);
    }
}
static void cooldown_expired_control2(struct k_work *work)
{
    ARG_UNUSED(work);

    int val = gpio_pin_get_dt(&button_control2);
    enum button_evt evt5 = val ? BUTTON_CONTROL_2_EVT_PRESSED : BUTTON_CONTROL_2_EVT_RELEASED;
    if (user_cb) {
        user_cb(evt5);
    }
}
////////////////////////////////////////////////////////////////////////
static K_WORK_DELAYABLE_DEFINE(cooldown_work_pairing, cooldown_expired_pairing);
static K_WORK_DELAYABLE_DEFINE(cooldown_work_open, cooldown_expired_open);
static K_WORK_DELAYABLE_DEFINE(cooldown_work_close, cooldown_expired_close);
static K_WORK_DELAYABLE_DEFINE(cooldown_work_control1, cooldown_expired_control1);
static K_WORK_DELAYABLE_DEFINE(cooldown_work_control2, cooldown_expired_control2);
////////////////////////////////////////////////////////////////////////
void button_pressed(const struct device *dev, struct gpio_callback *cb,
		    uint32_t pins)
{//TODO//-=-=-=-=-=-=-=-=-=-
//TODO//-=-=-=-=-=-=-=-=-=-
//TODO//-=-=-=-=-=-=-=-=-=-
//TODO//-=-=-=-=-=-=-=-=-=-
//TODO//-=-=-=-=-=-=-=-=-=-
    if(cb->pin_mask == BIT(button_pairing.pin)) 
    {
        if(pairing_button_previuos_state) k_work_reschedule(&cooldown_work_pairing, K_MSEC(50));
        else k_work_reschedule(&cooldown_work_pairing, K_MSEC(3000));
    }
    if(cb->pin_mask == BIT(button_open.pin)) k_work_reschedule(&cooldown_work_open, K_MSEC(50));
    if(cb->pin_mask == BIT(button_close.pin)) k_work_reschedule(&cooldown_work_close, K_MSEC(50));
    if(cb->pin_mask == BIT(button_control1.pin)) k_work_reschedule(&cooldown_work_control1, K_MSEC(50));
    if(cb->pin_mask == BIT(button_control2.pin)) k_work_reschedule(&cooldown_work_control2, K_MSEC(50));
}

int button_init(button_event_handler_t handler)
{
    int err = -1;

    if (!handler) {
        return -EINVAL;
    }

    user_cb = handler;

// check if port is configured //
	if (!device_is_ready(button_pairing.port) ||
        !device_is_ready(button_open.port) ||
        !device_is_ready(button_close.port) ||
        !device_is_ready(button_control1.port) ||
        !device_is_ready(button_control2.port)) {
		return -EIO;
	}
// check if port is configured //

// configure buttons to input //
	err = gpio_pin_configure_dt(&button_pairing, GPIO_INPUT);
	err = gpio_pin_configure_dt(&button_open, GPIO_INPUT);
	err = gpio_pin_configure_dt(&button_close, GPIO_INPUT);
	err = gpio_pin_configure_dt(&button_control1, GPIO_INPUT);
	err = gpio_pin_configure_dt(&button_control2, GPIO_INPUT);
    if (err) {
       return err;
	}
// configure buttons to input //

// configure interrupt on both edges //
	err = gpio_pin_interrupt_configure_dt(&button_pairing,GPIO_INT_EDGE_BOTH);
	err = gpio_pin_interrupt_configure_dt(&button_open,GPIO_INT_EDGE_BOTH);
	err = gpio_pin_interrupt_configure_dt(&button_close,GPIO_INT_EDGE_BOTH);
	err = gpio_pin_interrupt_configure_dt(&button_control1,GPIO_INT_EDGE_BOTH);
	err = gpio_pin_interrupt_configure_dt(&button_control2,GPIO_INT_EDGE_BOTH);
	if (err) {
		return err;
	}
// configure interrupt on both edges //

// init and add callback for each button //
	gpio_init_callback(&button_pairing_cb_data, button_pressed, BIT(button_pairing.pin));
    err = gpio_add_callback(button_pairing.port, &button_pairing_cb_data);

	gpio_init_callback(&button_open_cb_data, button_pressed, BIT(button_open.pin));
    err = gpio_add_callback(button_open.port, &button_open_cb_data);

	gpio_init_callback(&button_close_cb_data, button_pressed, BIT(button_close.pin));
    err = gpio_add_callback(button_close.port, &button_close_cb_data);

	gpio_init_callback(&button_control1_cb_data, button_pressed, BIT(button_control1.pin));
    err = gpio_add_callback(button_control1.port, &button_control1_cb_data);

	gpio_init_callback(&button_control2_cb_data, button_pressed, BIT(button_control2.pin));
	err = gpio_add_callback(button_control2.port, &button_control2_cb_data);
    if (err) {
        return err;
    }
// init and add callback for each button //
    return 0;
}
```

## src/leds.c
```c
#include <zephyr/kernel.h>
#include <zephyr/drivers/gpio.h>
#include "leds.h"

#define PAIRING_LED DT_ALIAS(led0)
#define ERROR_LED DT_ALIAS(led1)
#define OPEN_STATUS_LED DT_ALIAS(led2)
#define CLOSED_STATUS_LED DT_ALIAS(led3)

static const struct gpio_dt_spec pairing_led_io = GPIO_DT_SPEC_GET(PAIRING_LED, gpios);
static const struct gpio_dt_spec error_led_io = GPIO_DT_SPEC_GET(ERROR_LED, gpios);
static const struct gpio_dt_spec open_status_led_io = GPIO_DT_SPEC_GET(OPEN_STATUS_LED, gpios);
static const struct gpio_dt_spec close_status_led_io = GPIO_DT_SPEC_GET(CLOSED_STATUS_LED, gpios);

#define blink_time_ms 500

signed int full_time_of_blink_ms_pairing = 0;
signed int full_time_of_blink_ms_error = 0;
signed int full_time_of_blink_ms_open = 0;
signed int full_time_of_blink_ms_close = 0;

static void led_blink_delay_pairing(struct k_work *work);
static void led_blink_delay_error(struct k_work *work);
static void led_blink_delay_open(struct k_work *work);
static void led_blink_delay_close(struct k_work *work);

static K_WORK_DELAYABLE_DEFINE(led_blink_delay_ms_pairing, led_blink_delay_pairing);
static K_WORK_DELAYABLE_DEFINE(led_blink_delay_ms_error, led_blink_delay_error);
static K_WORK_DELAYABLE_DEFINE(led_blink_delay_ms_open, led_blink_delay_open);
static K_WORK_DELAYABLE_DEFINE(led_blink_delay_ms_close, led_blink_delay_close);

static void led_blink_delay_pairing(struct k_work *work)
{
    ARG_UNUSED(work);
    gpio_pin_toggle_dt(&pairing_led_io);
    full_time_of_blink_ms_pairing -= blink_time_ms;
    if(full_time_of_blink_ms_pairing)k_work_reschedule(&led_blink_delay_ms_pairing, K_MSEC(blink_time_ms));
    else full_time_of_blink_ms_pairing = 0, gpio_pin_set_dt(&pairing_led_io, false);
}
static void led_blink_delay_error(struct k_work *work)
{
    ARG_UNUSED(work);
    gpio_pin_toggle_dt(&error_led_io);
    full_time_of_blink_ms_error -= blink_time_ms;
    if(full_time_of_blink_ms_error)k_work_reschedule(&led_blink_delay_ms_error, K_MSEC(blink_time_ms));
    else full_time_of_blink_ms_error = 0, gpio_pin_set_dt(&error_led_io, false);
}
static void led_blink_delay_open(struct k_work *work)
{
    ARG_UNUSED(work);
    gpio_pin_toggle_dt(&open_status_led_io);
    full_time_of_blink_ms_open -= blink_time_ms;
    if(full_time_of_blink_ms_open)k_work_reschedule(&led_blink_delay_ms_open, K_MSEC(blink_time_ms));
    else full_time_of_blink_ms_open = 0, gpio_pin_set_dt(&open_status_led_io, false);
}
static void led_blink_delay_close(struct k_work *work)
{
    ARG_UNUSED(work);
    gpio_pin_toggle_dt(&close_status_led_io);
    full_time_of_blink_ms_close -= blink_time_ms;
    if(full_time_of_blink_ms_close)k_work_reschedule(&led_blink_delay_ms_close, K_MSEC(blink_time_ms));
    else full_time_of_blink_ms_close = 0, gpio_pin_set_dt(&close_status_led_io, false);
}

int led_control(enum leds name, bool on)
{
    int error = 0;
    switch (name) 
    {
        case PAIRING_LED_ENUM:
            error = gpio_pin_set_dt(&pairing_led_io, on);
			break;
        case ERROR_LED_ENUM:
            error = gpio_pin_set_dt(&error_led_io, on);
			break;
        case OPEN_STATUS_LED_ENUM:
            error = gpio_pin_set_dt(&open_status_led_io, on);
			break;
        case CLOSED_STATUS_LED_ENUM:
            error = gpio_pin_set_dt(&close_status_led_io, on);
			break;
    }
    return error;
}

int led_blink(enum leds name, signed int time_to_blink_ms)
{
    int error = 0;
    switch (name) 
    {
        case PAIRING_LED_ENUM:
            error = gpio_pin_set_dt(&pairing_led_io, true);
            k_work_reschedule(&led_blink_delay_ms_pairing, K_MSEC(blink_time_ms));
            full_time_of_blink_ms_pairing = time_to_blink_ms;
			break;
        case ERROR_LED_ENUM:
            error = gpio_pin_set_dt(&error_led_io, true);
            k_work_reschedule(&led_blink_delay_ms_error, K_MSEC(blink_time_ms));
            full_time_of_blink_ms_error = time_to_blink_ms;
			break;
        case OPEN_STATUS_LED_ENUM:
            error = gpio_pin_set_dt(&open_status_led_io, true);
            k_work_reschedule(&led_blink_delay_ms_open, K_MSEC(blink_time_ms));
            full_time_of_blink_ms_open = time_to_blink_ms;
			break;
        case CLOSED_STATUS_LED_ENUM:
            error = gpio_pin_set_dt(&close_status_led_io, true);
            k_work_reschedule(&led_blink_delay_ms_close, K_MSEC(blink_time_ms));
            full_time_of_blink_ms_close = time_to_blink_ms;
			break;
    }
    return error;
}

int leds_init(void)
{
    int error = 0;

    error = gpio_pin_configure_dt(&pairing_led_io, GPIO_OUTPUT);
	error = gpio_pin_configure_dt(&error_led_io, GPIO_OUTPUT);
	error = gpio_pin_configure_dt(&open_status_led_io, GPIO_OUTPUT);
	error = gpio_pin_configure_dt(&close_status_led_io, GPIO_OUTPUT);

    return error;
}
```

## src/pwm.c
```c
#include <zephyr/kernel.h>
#include <zephyr/device.h>
#include <zephyr/devicetree.h>
#include <zephyr/drivers/adc.h>
#include <zephyr/logging/log.h>
#include <zephyr/sys/util.h>
#include <zephyr/drivers/gpio.h>
#include <zephyr/drivers/pwm.h>
#include "pwm.h"

static const struct pwm_dt_spec my_pwm0 = PWM_DT_SPEC_GET(DT_ALIAS(my_pwm0));

// ------------ MOTOR Defines ------------ //
// P1.01 - Enable - IN2 - 1 channel
// P1.03 - Phase - IN1 - 2 channel
// P1.00 - nSleep

#define Enable 1
#define Phase 2
#define NSLEEP DT_ALIAS(nsleep)

#define Motor_Period       PWM_KHZ(3)
#define Motor_Pulse_width  PWM_KHZ(3) //TODO add divider based on battery voltage

#define Turn_OFF_Period       PWM_MSEC(20)
#define Turn_OFF_Pulse_width  PWM_MSEC(0)

int32_t motor_Pulse_width_var_HZ;
int32_t motor_Period_HZ = 3000;

static const struct gpio_dt_spec nsleep_io = GPIO_DT_SPEC_GET(NSLEEP, gpios);
// ------------ MOTOR Defines ------------ //

// ------------ BUZZER Defines ------------ //
#define Buzzer_Period       PWM_KHZ(3)
#define Buzzer_Pulse_width  PWM_KHZ(6)

static void buzzer_off_after_delay(struct k_work *work);
static K_WORK_DELAYABLE_DEFINE(buzzer_working_time_ms, buzzer_off_after_delay);
// ------------ BUZZER Defines ------------ //

//-------------------------------------------------------------//
void buzzer_on(int work_time_ms)
//-------------------------------------------------------------//
{
    pwm_set_dt(&my_pwm0, Buzzer_Period, Buzzer_Pulse_width);
    k_work_reschedule(&buzzer_working_time_ms, K_MSEC(work_time_ms));
}
//-------------------------------------------------------------//
void buzzer_off()
//-------------------------------------------------------------//
{
    pwm_set_dt(&my_pwm0, Turn_OFF_Period, Turn_OFF_Pulse_width);
}
//-------------------------------------------------------------//
static void buzzer_off_after_delay(struct k_work *work)
//-------------------------------------------------------------//
{
    ARG_UNUSED(work);
    buzzer_off();
}

//-------------------------------------------------------------//
void valve_open()
//-------------------------------------------------------------//
{
    gpio_pin_set_dt(&nsleep_io, 1);
    pwm_set(my_pwm0.dev, 
            Phase, 
            Turn_OFF_Period, 
            Turn_OFF_Pulse_width, 
            PWM_POLARITY_NORMAL);
    pwm_set(my_pwm0.dev, 
            Enable, 
            Motor_Period, 
            Motor_Pulse_width, 
            PWM_POLARITY_NORMAL);
}
//-------------------------------------------------------------//
void valve_close()
//-------------------------------------------------------------//
{
    gpio_pin_set_dt(&nsleep_io, 1);
    pwm_set(my_pwm0.dev, 
            Phase, 
            Motor_Period, 
            Motor_Pulse_width, 
            PWM_POLARITY_NORMAL);
    pwm_set(my_pwm0.dev, 
            Enable, 
            Turn_OFF_Period, 
            Turn_OFF_Pulse_width, 
            PWM_POLARITY_NORMAL);
}
//-------------------------------------------------------------//
void motor_sleep()
//-------------------------------------------------------------//
{
    gpio_pin_set_dt(&nsleep_io, 0);
    pwm_set(my_pwm0.dev, 
            Phase, 
            Turn_OFF_Period, 
            Turn_OFF_Pulse_width, 
            PWM_POLARITY_NORMAL);
    pwm_set(my_pwm0.dev, 
            Enable, 
            Turn_OFF_Period, 
            Turn_OFF_Pulse_width, 
            PWM_POLARITY_NORMAL);
}
//-------------------------------------------------------------//
void set_motor_pwm(int32_t current_bat_voltage)
//-------------------------------------------------------------//
{
    int32_t pwm_percent = (5000 * 100)/current_bat_voltage;
    motor_Pulse_width_var_HZ = (motor_Period_HZ/100) * pwm_percent;
}

//-------------------------------------------------------------//
void configure_gpio(void)
//-------------------------------------------------------------//
{
	gpio_pin_configure_dt(&nsleep_io, GPIO_OUTPUT);
    motor_sleep();
}
```
